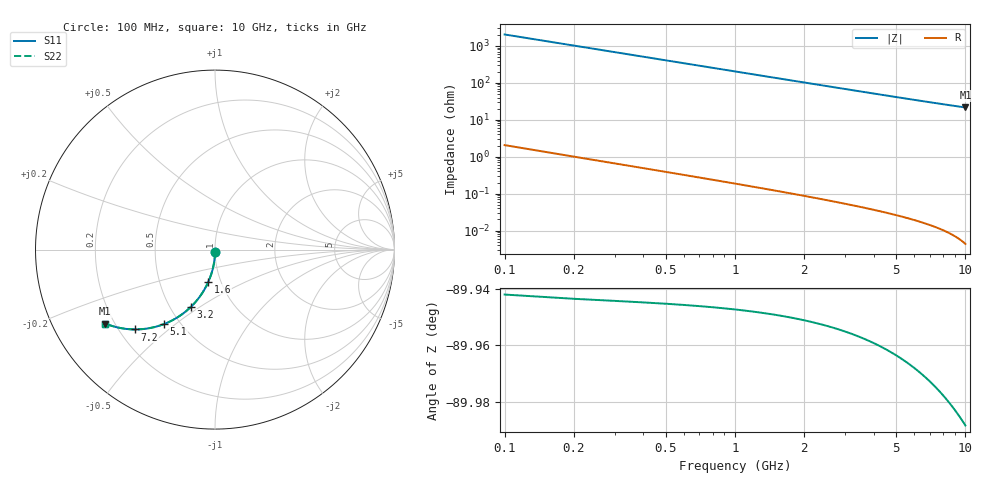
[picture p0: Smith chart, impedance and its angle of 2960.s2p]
# Hz S RI R 50.00
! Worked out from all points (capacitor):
!   100 points, 100 MHz to 10 GHz, reference 50 ohm
!   read as one part in shunt: C = 783 fF near 100 MHz
!   lowest |Z| = 21.5 ohm at 10 GHz (marker M1)
!   S11 on the Smith chart (normalised r, x): 100 MHz: 1.00, -0.02; 1.6 GHz: 0.87, -0.32; 3.2 GHz: 0.63, -0.46; 5.1 GHz: 0.41, -0.46; 7.2 GHz: 0.26, -0.39; 10 GHz: 0.17, -0.30
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1e8  0.000556 -0.0116  0.9991 -0.013  0.9991 -0.013  0.000556 -0.0116
2e8  9.7e-05 -0.0232  0.9986 -0.026  0.9986 -0.026  9.7e-05 -0.0232
3e8  -0.000664 -0.0347  0.9979 -0.039  0.9979 -0.039  -0.000664 -0.0347
4e8  -0.00172 -0.0462  0.9968 -0.0519  0.9968 -0.0519  -0.00172 -0.0462
5e8  -0.00308 -0.0577  0.9954 -0.0648  0.9954 -0.0648  -0.00308 -0.0577
6e8  -0.00474 -0.0691  0.9938 -0.0777  0.9938 -0.0777  -0.00474 -0.0691
7e8  -0.00668 -0.0805  0.9918 -0.0904  0.9918 -0.0904  -0.00668 -0.0805
9e8  -0.0114 -0.1029  0.987 -0.1158  0.987 -0.1158  -0.0114 -0.1029
1.2e9  -0.0207 -0.1359  0.9777 -0.153  0.9777 -0.153  -0.0207 -0.1359
1.6e9  -0.0366 -0.1781  0.9616 -0.2009  0.9616 -0.2009  -0.0366 -0.1781
1.8e9  -0.0461 -0.1983  0.9521 -0.224  0.9521 -0.224  -0.0461 -0.1983
2.4e9  -0.0796 -0.2547  0.9183 -0.2889  0.9183 -0.2889  -0.0796 -0.2547
2.8e9  -0.1056 -0.2883  0.8921 -0.3283  0.8921 -0.3283  -0.1056 -0.2883
3.2e9  -0.1339 -0.3185  0.8635 -0.3642  0.8635 -0.3642  -0.1339 -0.3185
3.4e9  -0.1487 -0.3323  0.8486 -0.3809  0.8486 -0.3809  -0.1487 -0.3323
4.2e9  -0.2111 -0.3787  0.7855 -0.4388  0.7855 -0.4388  -0.2111 -0.3787
5.1e9  -0.2838 -0.4147  0.7119 -0.4879  0.7119 -0.4879  -0.2838 -0.4147
5.9e9  -0.3476 -0.434  0.6472 -0.5188  0.6472 -0.5188  -0.3476 -0.434
6.7e9  -0.4083 -0.4432  0.5853 -0.5398  0.5853 -0.5398  -0.4083 -0.4432
7.2e9  -0.4442 -0.4447  0.5486 -0.5486  0.5486 -0.5486  -0.4442 -0.4447
8.4e9  -0.5229 -0.4376  0.4679 -0.5595  0.4679 -0.5595  -0.5229 -0.4376
1e10  -0.6108 -0.4123  0.3766 -0.5585  0.3766 -0.5585  -0.6108 -0.4123
